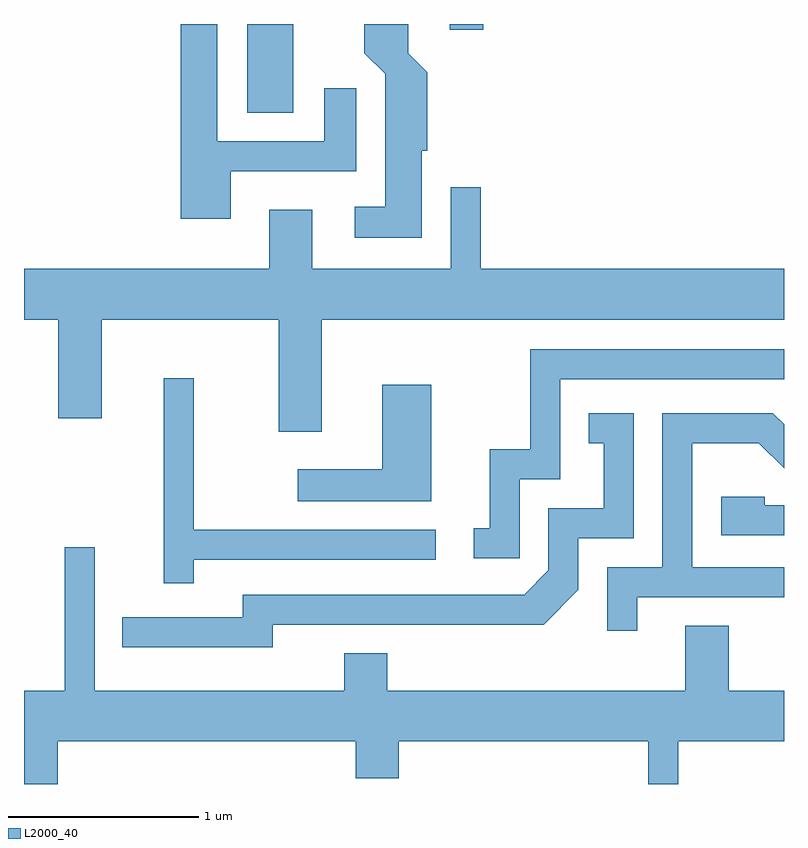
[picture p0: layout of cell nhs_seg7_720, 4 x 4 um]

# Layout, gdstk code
import gdstk
lib = gdstk.Library(unit=1e-6, precision=1e-09)
def R(c, l, rs):  # rectangles x0, y0, x1, y1
    for r in rs: c.add(gdstk.rectangle(r[:2], r[2:], *l))
def P(c, l, *ps):  # polygons
    for p in ps: c.add(gdstk.Polygon(p, *l))
L2000_40 = (2000, 40)

nhs_seg7_720 = lib.new_cell('nhs_seg7_720')
R(nhs_seg7_720, L2000_40, [(206.786,1779.786,207.029,1780.252), (207.851,1780.221,208.029,1780.252)])
P(nhs_seg7_720, L2000_40, [(207.704,1779.586),(207.734,1779.586),(207.734,1779.997),(207.634,1780.097),(207.634,1780.252),(207.401,1780.252),(207.401,1780.099),(207.511,1779.989),(207.511,1779.289),(207.353,1779.289),(207.353,1779.126),(207.704,1779.126)],
  [(206.699,1779.476),(207.359,1779.476),(207.359,1779.913),(207.191,1779.913),(207.191,1779.634),(206.629,1779.634),(206.629,1780.252),(206.436,1780.252),(206.436,1779.226),(206.699,1779.226)],
  [(207.179,1778.696),(209.611,1778.696),(209.611,1778.964),(208.014,1778.964),(208.014,1779.393),(207.856,1779.393),(207.856,1778.964),(207.129,1778.964),(207.129,1779.274),(206.901,1779.274),(206.901,1778.964),(205.611,1778.964),(205.611,1778.696),(205.791,1778.696),(205.791,1778.176),(206.019,1778.176),(206.019,1778.696),(206.951,1778.696),(206.951,1778.106),(207.179,1778.106)],
  [(208.219,1777.856),(208.434,1777.856),(208.434,1778.381),(209.611,1778.381),(209.611,1778.539),(208.276,1778.539),(208.276,1778.014),(208.061,1778.014),(208.061,1777.599),(207.978,1777.599),(207.978,1777.441),(208.219,1777.441)],
  [(206.504,1777.431),(207.778,1777.431),(207.778,1777.589),(206.504,1777.589),(206.504,1778.388),(206.346,1778.388),(206.346,1777.308),(206.504,1777.308)],
  [(207.754,1778.354),(207.496,1778.354),(207.496,1777.909),(207.053,1777.909),(207.053,1777.741),(207.754,1777.741)],
  [(206.919,1777.091),(208.347,1777.091),(208.529,1777.274),(208.529,1777.546),(208.819,1777.546),(208.819,1778.204),(208.583,1778.204),(208.583,1778.046),(208.661,1778.046),(208.661,1777.704),(208.371,1777.704),(208.371,1777.377),(208.244,1777.249),(206.761,1777.249),(206.761,1777.129),(206.128,1777.129),(206.128,1776.971),(206.919,1776.971)],
  [(208.839,1777.236),(209.611,1777.236),(209.611,1777.394),(209.129,1777.394),(209.129,1778.046),(209.479,1778.046),(209.611,1777.914),(209.611,1778.145),(209.552,1778.204),(208.971,1778.204),(208.971,1777.394),(208.681,1777.394),(208.681,1777.058),(208.839,1777.058)],
  [(209.611,1777.719),(209.509,1777.719),(209.509,1777.764),(209.281,1777.764),(209.281,1777.561),(209.611,1777.561)],
  [(205.789,1776.476),(207.356,1776.476),(207.356,1776.281),(207.584,1776.281),(207.584,1776.476),(208.896,1776.476),(208.896,1776.252),(209.054,1776.252),(209.054,1776.476),(209.611,1776.476),(209.611,1776.744),(209.319,1776.744),(209.319,1777.084),(209.091,1777.084),(209.091,1776.744),(207.524,1776.744),(207.524,1776.939),(207.296,1776.939),(207.296,1776.744),(205.984,1776.744),(205.984,1777.498),(205.826,1777.498),(205.826,1776.744),(205.611,1776.744),(205.611,1776.252),(205.789,1776.252)])

lib.write_gds('nhs_seg7_720.gds')
